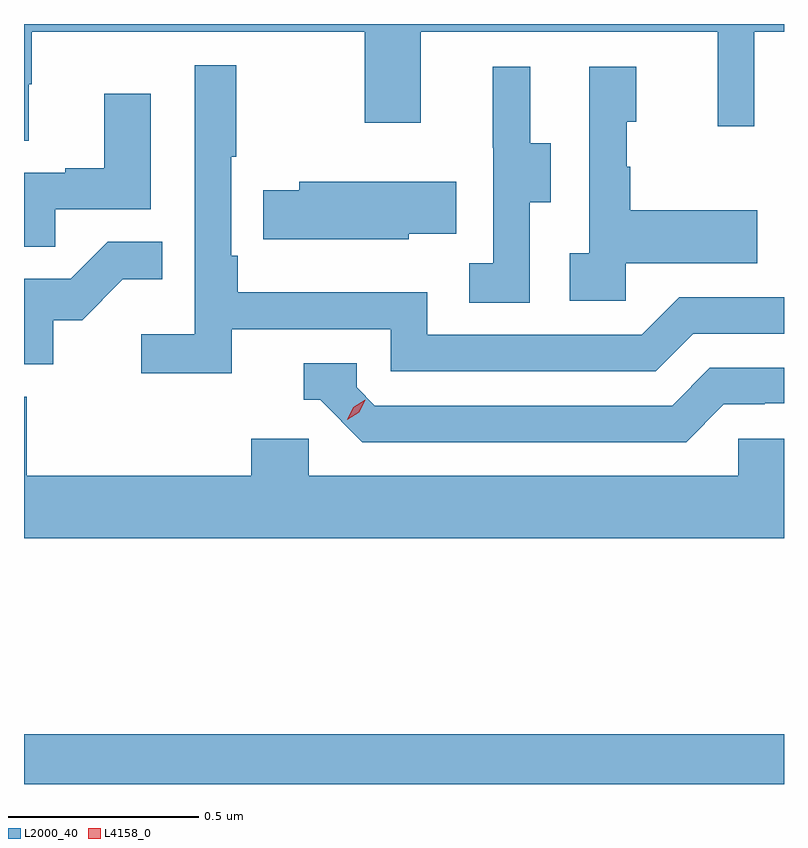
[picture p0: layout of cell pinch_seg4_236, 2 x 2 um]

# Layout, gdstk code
import gdstk
lib = gdstk.Library(unit=1e-6, precision=1e-09)
def R(c, l, rs):  # rectangles x0, y0, x1, y1
    for r in rs: c.add(gdstk.rectangle(r[:2], r[2:], *l))
def P(c, l, *ps):  # polygons
    for p in ps: c.add(gdstk.Polygon(p, *l))
L2000_40 = (2000, 40)
L4158_0 = (4158, 0)

pinch_seg4_236 = lib.new_cell('pinch_seg4_236')
R(pinch_seg4_236, L2000_40, [(913.069,822.813,915.069,822.944)])
P(pinch_seg4_236, L2000_40, [(913.081,824.655),(913.089,824.655),(913.089,824.792),(913.966,824.792),(913.966,824.553),(914.113,824.553),(914.113,824.792),(914.894,824.792),(914.894,824.544),(914.991,824.544),(914.991,824.792),(915.069,824.792),(915.069,824.813),(913.069,824.813),(913.069,824.506),(913.081,824.506)],
  [(913.616,824.01),(914.034,824.01),(914.034,823.899),(914.731,823.899),(914.83,823.998),(915.069,823.998),(915.069,824.094),(914.793,824.094),(914.694,823.995),(914.13,823.995),(914.13,824.107),(913.631,824.107),(913.631,824.203),(913.614,824.203),(913.614,824.464),(913.627,824.464),(913.627,824.704),(913.518,824.704),(913.518,823.996),(913.377,823.996),(913.377,823.894),(913.616,823.894)],
  [(914.652,824.183),(914.999,824.183),(914.999,824.323),(914.665,824.323),(914.665,824.438),(914.655,824.438),(914.655,824.556),(914.68,824.556),(914.68,824.701),(914.556,824.701),(914.556,824.21),(914.505,824.21),(914.505,824.085),(914.652,824.085)],
  [(914.4,824.344),(914.455,824.344),(914.455,824.499),(914.401,824.499),(914.401,824.701),(914.303,824.701),(914.303,824.487),(914.304,824.487),(914.304,824.183),(914.241,824.183),(914.241,824.08),(914.4,824.08)],
  [(913.151,824.325),(913.402,824.325),(913.402,824.629),(913.28,824.629),(913.28,824.434),(913.177,824.434),(913.177,824.421),(913.069,824.421),(913.069,824.227),(913.151,824.227)],
  [(914.082,824.261),(914.207,824.261),(914.207,824.398),(913.793,824.398),(913.793,824.376),(913.699,824.376),(913.699,824.247),(913.81,824.247),(913.81,824.246),(914.082,824.246)],
  [(913.146,824.034),(913.222,824.034),(913.329,824.141),(913.433,824.141),(913.433,824.24),(913.29,824.24),(913.192,824.142),(913.069,824.142),(913.069,823.917),(913.146,823.917)],
  [(914.911,823.812),(915.018,823.812),(915.018,823.815),(915.069,823.815),(915.069,823.908),(914.874,823.908),(914.775,823.809),(913.992,823.809),(913.944,823.857),(913.944,823.92),(913.805,823.92),(913.805,823.824),(913.848,823.824),(913.959,823.713),(914.812,823.713)],
  [(915.069,823.722),(914.949,823.722),(914.949,823.624),(913.818,823.624),(913.818,823.722),(913.667,823.722),(913.667,823.624),(913.076,823.624),(913.076,823.832),(913.069,823.832),(913.069,823.46),(915.069,823.46)])
P(pinch_seg4_236, L4158_0, [(913.92,823.772),(913.92,823.772),(913.936,823.804),(913.967,823.824),(913.967,823.824),(913.967,823.824),(913.951,823.791),(913.92,823.772)])

lib.write_gds('pinch_seg4_236.gds')
